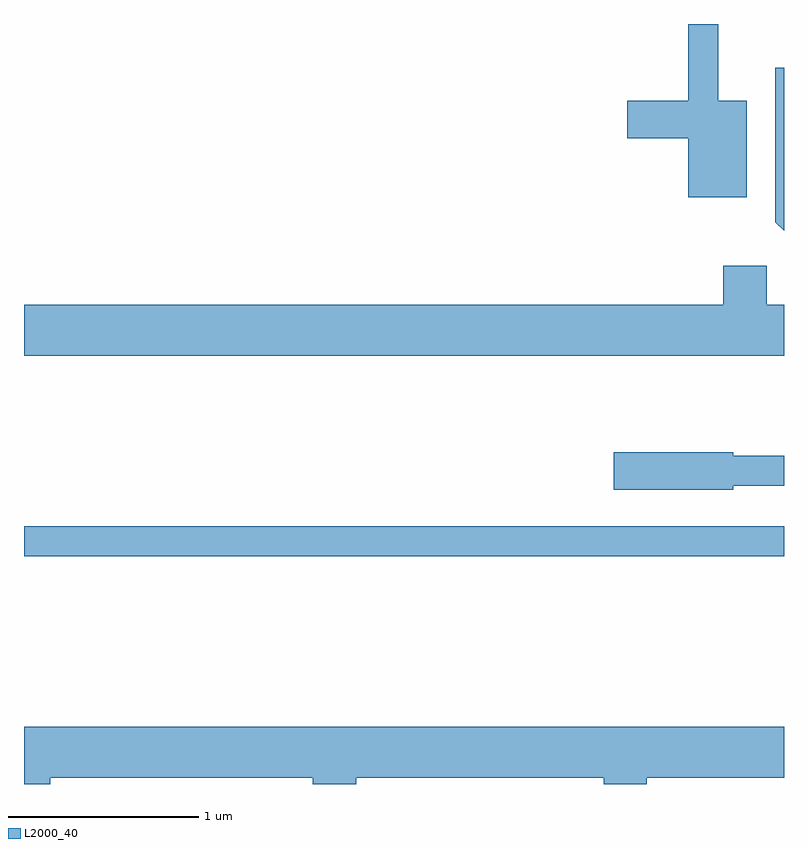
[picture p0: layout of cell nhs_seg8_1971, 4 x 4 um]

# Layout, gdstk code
import gdstk
lib = gdstk.Library(unit=1e-6, precision=1e-09)
def R(c, l, rs):  # rectangles x0, y0, x1, y1
    for r in rs: c.add(gdstk.rectangle(r[:2], r[2:], *l))
def P(c, l, *ps):  # polygons
    for p in ps: c.add(gdstk.Polygon(p, *l))
L2000_40 = (2000, 40)

nhs_seg8_1971 = lib.new_cell('nhs_seg8_1971')
R(nhs_seg8_1971, L2000_40, [(243.611,1877.541,247.611,1877.699)])
P(nhs_seg8_1971, L2000_40, [(247.414,1879.939),(247.264,1879.939),(247.264,1880.342),(247.106,1880.342),(247.106,1879.939),(246.786,1879.939),(246.786,1879.741),(247.106,1879.741),(247.106,1879.431),(247.414,1879.431)],
  [(247.611,1880.113),(247.566,1880.113),(247.566,1879.299),(247.611,1879.254)],
  [(247.611,1878.864),(247.519,1878.864),(247.519,1879.069),(247.291,1879.069),(247.291,1878.864),(243.611,1878.864),(243.611,1878.596),(247.611,1878.596)],
  [(247.344,1877.911),(247.611,1877.911),(247.611,1878.069),(247.344,1878.069),(247.344,1878.089),(246.716,1878.089),(246.716,1877.891),(247.344,1877.891)],
  [(243.749,1876.376),(245.131,1876.376),(245.131,1876.342),(245.359,1876.342),(245.359,1876.376),(246.661,1876.376),(246.661,1876.342),(246.889,1876.342),(246.889,1876.376),(247.611,1876.376),(247.611,1876.644),(243.611,1876.644),(243.611,1876.342),(243.749,1876.342)])

lib.write_gds('nhs_seg8_1971.gds')
